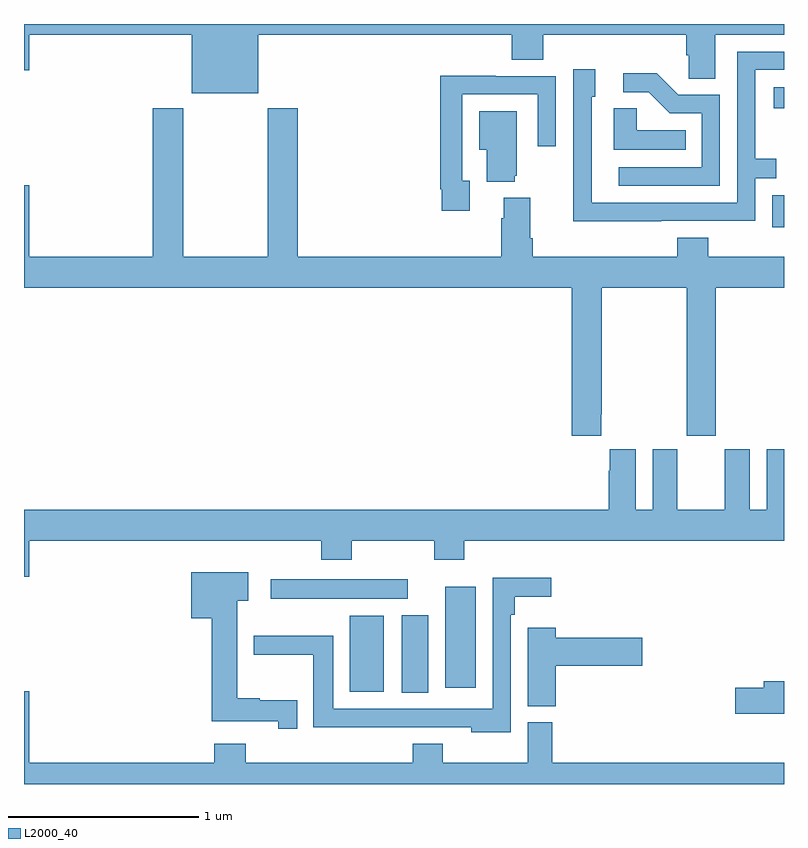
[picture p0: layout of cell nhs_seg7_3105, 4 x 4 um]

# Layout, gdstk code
import gdstk
lib = gdstk.Library(unit=1e-6, precision=1e-09)
def R(c, l, rs):  # rectangles x0, y0, x1, y1
    for r in rs: c.add(gdstk.rectangle(r[:2], r[2:], *l))
def P(c, l, *ps):  # polygons
    for p in ps: c.add(gdstk.Polygon(p, *l))
L2000_40 = (2000, 40)

nhs_seg7_3105 = lib.new_cell('nhs_seg7_3105')
R(nhs_seg7_3105, L2000_40, [(310.988,1002.481,311.128,1002.889), (310.715,1002.485,310.894,1002.886), (311.216,1002.507,311.377,1003.039), (310.299,1002.974,311.02,1003.078), (312.939,1004.931,313,1005.099), (312.945,1005.557,313,1005.667)])
P(nhs_seg7_3105, L2000_40, [(310.234,1005.944),(311.567,1005.944),(311.567,1005.811),(311.732,1005.811),(311.732,1005.944),(312.485,1005.944),(312.485,1005.835),(312.498,1005.835),(312.498,1005.712),(312.637,1005.712),(312.637,1005.944),(313,1005.944),(313,1006),(309,1006),(309,1005.756),(309.028,1005.756),(309.028,1005.944),(309.884,1005.944),(309.884,1005.635),(310.234,1005.635)],
  [(312.353,1004.964),(312.849,1004.964),(312.849,1005.189),(312.959,1005.189),(312.959,1005.29),(312.849,1005.29),(312.849,1005.759),(313,1005.759),(313,1005.855),(312.753,1005.855),(312.753,1005.06),(311.988,1005.06),(311.988,1005.618),(312.007,1005.618),(312.007,1005.763),(311.892,1005.763),(311.892,1005.269),(311.89,1005.269),(311.89,1004.963),(312.353,1004.963)],
  [(312.663,1005.627),(312.444,1005.627),(312.331,1005.74),(312.153,1005.74),(312.153,1005.642),(312.287,1005.642),(312.398,1005.531),(312.567,1005.531),(312.567,1005.246),(312.129,1005.246),(312.129,1005.15),(312.663,1005.15)],
  [(311.347,1005.174),(311.307,1005.174),(311.307,1005.63),(311.703,1005.63),(311.703,1005.357),(311.799,1005.357),(311.799,1005.726),(311.483,1005.726),(311.483,1005.728),(311.191,1005.728),(311.191,1005.13),(311.199,1005.13),(311.199,1005.018),(311.347,1005.018)],
  [(312.482,1005.442),(312.225,1005.442),(312.225,1005.557),(312.104,1005.557),(312.104,1005.338),(312.482,1005.338)],
  [(312.037,1003.945),(312.042,1003.945),(312.042,1004.612),(312.487,1004.612),(312.487,1003.833),(312.642,1003.833),(312.642,1004.612),(313,1004.612),(313,1004.776),(312.602,1004.776),(312.602,1004.875),(312.437,1004.875),(312.437,1004.776),(311.678,1004.776),(311.678,1004.872),(311.665,1004.872),(311.665,1005.085),(311.525,1005.085),(311.525,1004.978),(311.513,1004.978),(311.513,1004.776),(310.442,1004.776),(310.442,1005.556),(310.282,1005.556),(310.282,1004.776),(309.837,1004.776),(309.837,1005.556),(309.677,1005.556),(309.677,1004.776),(309.028,1004.776),(309.028,1005.151),(309,1005.151),(309,1004.612),(311.882,1004.612),(311.882,1003.833),(312.037,1003.833)],
  [(311.582,1005.201),(311.593,1005.201),(311.593,1005.541),(311.396,1005.541),(311.396,1005.338),(311.435,1005.338),(311.435,1005.17),(311.582,1005.17)],
  [(309.028,1003.28),(310.565,1003.28),(310.565,1003.181),(310.725,1003.181),(310.725,1003.28),(311.158,1003.28),(311.158,1003.181),(311.318,1003.181),(311.318,1003.28),(313,1003.28),(313,1003.762),(312.908,1003.762),(312.908,1003.444),(312.82,1003.444),(312.82,1003.762),(312.689,1003.762),(312.689,1003.444),(312.439,1003.444),(312.439,1003.762),(312.308,1003.762),(312.308,1003.444),(312.22,1003.444),(312.22,1003.762),(312.083,1003.762),(312.083,1003.649),(312.077,1003.649),(312.077,1003.444),(309,1003.444),(309,1003.092),(309.028,1003.092)],
  [(310.438,1002.441),(310.242,1002.441),(310.242,1002.451),(310.123,1002.451),(310.123,1002.965),(310.18,1002.965),(310.18,1003.114),(309.881,1003.114),(309.881,1002.872),(309.989,1002.872),(309.989,1002.329),(310.338,1002.329),(310.338,1002.291),(310.438,1002.291)],
  [(311.562,1002.89),(311.582,1002.89),(311.582,1002.986),(311.776,1002.986),(311.776,1003.085),(311.466,1003.085),(311.466,1002.396),(310.627,1002.396),(310.627,1002.779),(310.208,1002.779),(310.208,1002.679),(310.523,1002.679),(310.523,1002.299),(310.961,1002.299),(310.961,1002.3),(311.355,1002.3),(311.355,1002.272),(311.562,1002.272)],
  [(311.798,1002.623),(312.253,1002.623),(312.253,1002.77),(311.798,1002.77),(311.798,1002.823),(311.651,1002.823),(311.651,1002.409),(311.798,1002.409)],
  [(313,1002.542),(312.893,1002.542),(312.893,1002.506),(312.744,1002.506),(312.744,1002.371),(313,1002.371)],
  [(313,1002.112),(311.78,1002.112),(311.78,1002.324),(311.651,1002.324),(311.651,1002.112),(311.205,1002.112),(311.205,1002.211),(311.045,1002.211),(311.045,1002.112),(310.166,1002.112),(310.166,1002.211),(310.001,1002.211),(310.001,1002.112),(309.028,1002.112),(309.028,1002.487),(309,1002.487),(309,1002),(313,1002)])

lib.write_gds('nhs_seg7_3105.gds')
